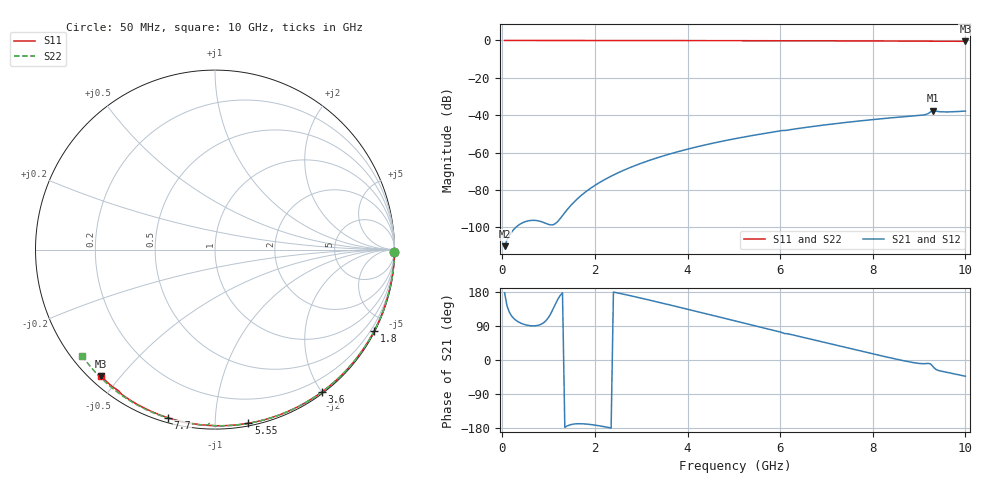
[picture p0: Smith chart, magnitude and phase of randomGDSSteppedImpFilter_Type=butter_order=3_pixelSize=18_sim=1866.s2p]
! freq	dB(S11)	phase(S11)	dB(S12)	phase(S12)
!  dB(S21)	phase(S21)	dB(S22)	phase(S22)
!S-par simulation data
#  GHz  S  DB  R 50
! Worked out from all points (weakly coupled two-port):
!   200 points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, 50 MHz to 10 GHz, reference 50 ohm
!   highest |S21| = -37.49 dB at 9.3 GHz (marker M1); lowest = -110.0 dB at 50 MHz (marker M2)
!   lowest |S11| = -0.5 dB at 10 GHz (marker M3), VSWR 38.44, Z = 1.56 - j22.2 ohm
!   |S11| at or under -10 dB: nowhere
!   |S22| runs from -0.5 to 0.0 dB; largest |S21 - S12| = 0
!   S11 on the Smith chart (normalised r, x): 50 MHz: open; 1.8 GHz: 0.04, -4.15; 3.6 GHz: 0.02, -2.01; 5.55 GHz: 0.02, -1.21; 7.7 GHz: 0.02, -0.76; 10 GHz: 0.03, -0.44
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0.05  -0.00 -0.8  -110.00 177.4  -110.00 177.4  -0.00 -0.8
0.85  -0.01 -12.9  -96.94 95.0  -96.94 95.0  -0.01 -13.8
1.75  -0.03 -26.4  -81.92 -168.5  -81.92 -168.5  -0.04 -28.2
1.8  -0.03 -27.1  -80.95 -168.9  -80.95 -168.9  -0.04 -29.0
1.85  -0.04 -27.9  -80.03 -169.5  -80.03 -169.5  -0.04 -29.8
2.2  -0.04 -33.0  -74.54 -175.9  -74.54 -175.9  -0.05 -35.3
2.55  -0.05 -38.1  -70.18 175.5  -70.18 175.5  -0.05 -40.8
2.95  -0.06 -43.8  -66.11 164.6  -66.11 164.6  -0.06 -46.9
3.4  -0.07 -50.2  -62.31 151.7  -62.31 151.7  -0.07 -53.7
3.6  -0.07 -53.0  -60.82 145.8  -60.82 145.8  -0.08 -56.7
4.3  -0.09 -62.6  -56.31 125.0  -56.31 125.0  -0.09 -66.9
5.05  -0.11 -72.6  -52.40 102.5  -52.40 102.5  -0.12 -77.6
5.55  -0.13 -79.1  -50.19 87.6  -50.19 87.6  -0.14 -84.5
6.7  -0.18 -93.6  -46.01 53.7  -46.01 53.7  -0.19 -99.8
7.7  -0.24 -105.6  -43.08 24.7  -43.08 24.7  -0.26 -112.7
8.35  -0.29 -113.3  -41.47 6.5  -41.47 6.5  -0.31 -120.9
9.1  -0.35 -122.0  -39.81 -9.8  -39.81 -9.8  -0.38 -130.2
9.2  -0.37 -123.3  -39.04 -9.0  -39.04 -9.0  -0.39 -131.4
9.3  -0.42 -124.3  -37.49 -17.4  -37.49 -17.4  -0.39 -132.7
9.45  -0.41 -125.8  -38.13 -28.7  -38.13 -28.7  -0.41 -134.6
9.6  -0.42 -127.5  -38.24 -32.5  -38.24 -32.5  -0.42 -136.5
10  -0.45 -132.1  -37.76 -42.8  -37.76 -42.8  -0.47 -141.5
